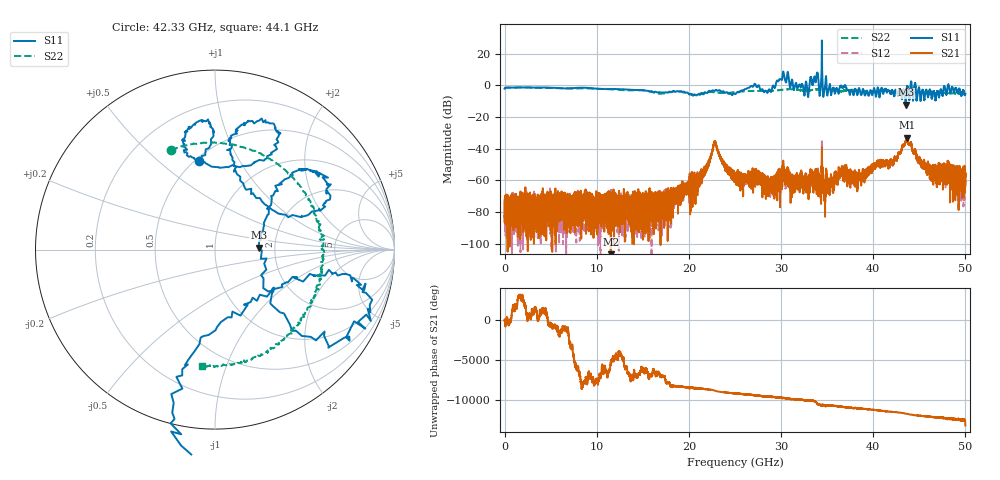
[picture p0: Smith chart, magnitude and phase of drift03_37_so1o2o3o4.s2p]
!Created with skrf (http://scikit-rf.org).
# Hz S RI R 50.0
!freq ReS11 ImS11 ReS21 ImS21 ReS12 ImS12 ReS22 ImS22
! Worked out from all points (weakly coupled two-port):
!   10000 points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, 5.3 MHz to 50 GHz, reference 50 ohm
!   highest |S21| = -33.00 dB at 43.64 GHz (marker M1); lowest = -109.9 dB at 11.53 GHz (marker M2)
!   lowest |S11| = -12.3 dB at 43.52 GHz (marker M3), VSWR 1.64, Z = 82.2 + j1.93 ohm
!   |S11| at or under -10 dB: 43.48434 GHz to 43.55538 GHz (71.04 MHz wide, 0.163 % of centre)
!   |S22| runs from -5.9 to -1.3 dB; largest |S21 - S12| = 0.014
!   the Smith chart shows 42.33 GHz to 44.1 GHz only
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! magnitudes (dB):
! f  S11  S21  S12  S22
! 5.3 MHz  -2.1  -72.3  -75.3  -2.1
! 8.34 GHz  -1.5  -74.8  -78.7  -1.9
! 11.53 GHz  -2.3  -109.9  -69.4  -2.5
! 16.67 GHz  -4.4  -67.1  -71.5  -5.2
! 21.17 GHz  -6.0  -58.9  -56.7  -5.3
! 22.82 GHz  -3.4  -35.4  -35.2  -4.4
! 23.82 GHz  -4.2  -50.1  -49.0  -4.9
! 25.01 GHz  -5.5  -58.2  -57.7  -4.2
! 27.02 GHz  -0.3  -53.6  -56.6  -3.5
! 28.72 GHz  -2.5  -60.7  -61.4  -3.6
! 30.14 GHz  4.5  -54.5  -56.3  -2.8
! 32.74 GHz  2.0  -59.4  -59.1  -3.3
! 33.34 GHz  2.5  -53.6  -57.7  -2.9
! 33.82 GHz  4.0  -61.4  -58.6  -2.5
! 35.37 GHz  -2.7  -58.4  -60.9  -2.8
! 36.45 GHz  -0.4  -55.0  -55.0  -3.6
! 38.49 GHz  -1.9  -55.1  -55.3  -3.0
! 41.67 GHz  -3.0  -50.4  -51.4  -3.7
! 43.52 GHz  -12.3  -35.1  -35.3  -4.2
! 43.64 GHz  -2.2  -33.0  -33.6  -4.0
! 46.38 GHz  -8.5  -52.2  -53.5  -5.5
! 50 GHz  -5.2  -62.5  -54.7  -5.0
